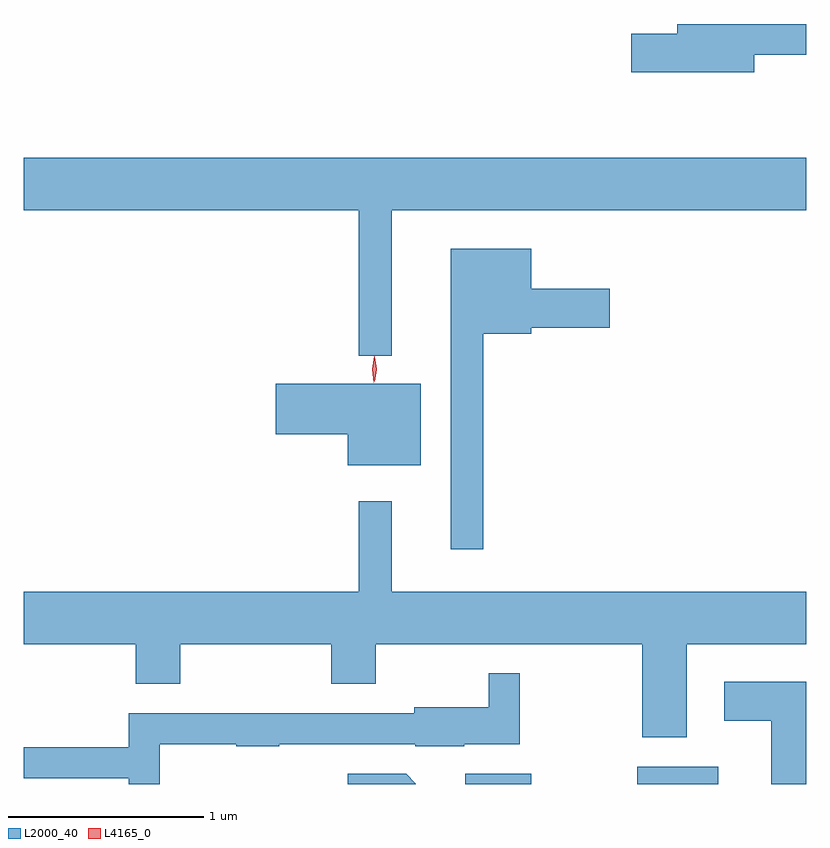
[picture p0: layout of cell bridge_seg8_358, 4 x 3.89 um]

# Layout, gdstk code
import gdstk
lib = gdstk.Library(unit=1e-6, precision=1e-09)
def R(c, l, rs):  # rectangles x0, y0, x1, y1
    for r in rs: c.add(gdstk.rectangle(r[:2], r[2:], *l))
def P(c, l, *ps):  # polygons
    for p in ps: c.add(gdstk.Polygon(p, *l))
L2000_40 = (2000, 40)
L4165_0 = (4165, 0)

bridge_seg8_358 = lib.new_cell('bridge_seg8_358')
R(bridge_seg8_358, L2000_40, [(767.196,1888.982,767.534,1889.034), (768.076,1888.982,768.489,1889.069)])
P(bridge_seg8_358, L2000_40, [(768.674,1892.711),(768.939,1892.711),(768.939,1892.869),(768.281,1892.869),(768.281,1892.819),(768.046,1892.819),(768.046,1892.621),(768.674,1892.621)],
  [(764.939,1891.916),(766.651,1891.916),(766.651,1891.173),(766.819,1891.173),(766.819,1891.916),(768.939,1891.916),(768.939,1892.184),(764.939,1892.184)],
  [(767.289,1891.286),(767.534,1891.286),(767.534,1891.316),(767.934,1891.316),(767.934,1891.514),(767.534,1891.514),(767.534,1891.719),(767.121,1891.719),(767.121,1890.183),(767.289,1890.183)],
  [(766.969,1891.029),(766.226,1891.029),(766.226,1890.771),(766.596,1890.771),(766.596,1890.611),(766.969,1890.611)],
  [(764.939,1889.696),(765.511,1889.696),(765.511,1889.496),(765.739,1889.496),(765.739,1889.696),(766.511,1889.696),(766.511,1889.496),(766.739,1889.496),(766.739,1889.696),(768.101,1889.696),(768.101,1889.221),(768.329,1889.221),(768.329,1889.696),(768.939,1889.696),(768.939,1889.964),(766.819,1889.964),(766.819,1890.428),(766.651,1890.428),(766.651,1889.964),(764.939,1889.964)],
  [(765.634,1889.186),(766.025,1889.186),(766.025,1889.176),(766.245,1889.176),(766.245,1889.186),(766.94,1889.186),(766.94,1889.176),(767.19,1889.176),(767.19,1889.186),(767.474,1889.186),(767.474,1889.548),(767.316,1889.548),(767.316,1889.374),(766.936,1889.374),(766.936,1889.344),(765.476,1889.344),(765.476,1889.169),(764.939,1889.169),(764.939,1889.011),(765.476,1889.011),(765.476,1888.982),(765.634,1888.982)],
  [(768.939,1889.504),(768.521,1889.504),(768.521,1889.306),(768.761,1889.306),(768.761,1888.982),(768.939,1888.982)],
  [(766.944,1888.984),(766.894,1889.034),(766.596,1889.034),(766.596,1888.982),(766.944,1888.982)])
P(bridge_seg8_358, L4165_0, [(766.732,1891.04),(766.723,1891.103),(766.732,1891.166),(766.733,1891.167),(766.733,1891.166),(766.743,1891.103),(766.733,1891.04),(766.733,1891.04)],
  [(766.728,1891.034),(766.72,1891.102),(766.73,1891.17),(766.73,1891.17),(766.731,1891.17),(766.739,1891.102),(766.729,1891.034),(766.729,1891.034)])

lib.write_gds('bridge_seg8_358.gds')
